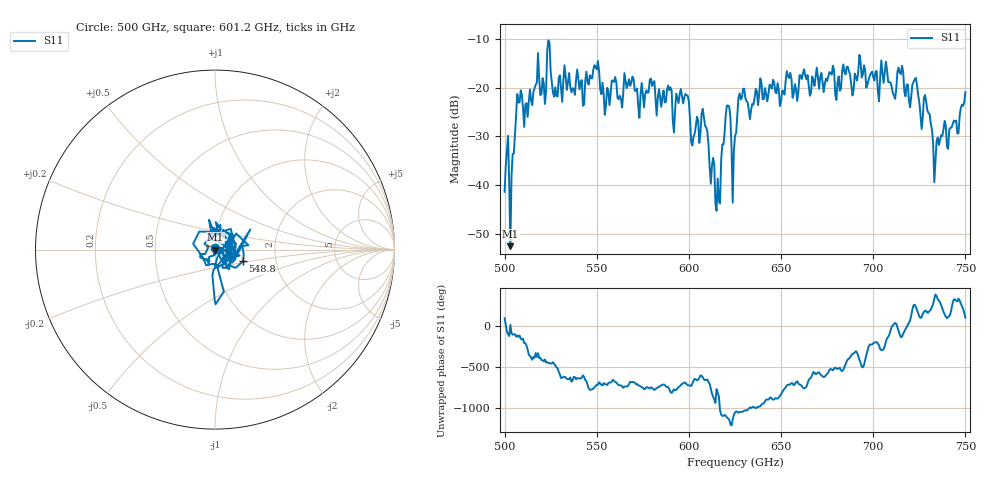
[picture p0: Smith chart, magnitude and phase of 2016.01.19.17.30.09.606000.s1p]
!Created with skrf (http://scikit-rf.org).
# GHz S RI R 50.0
!freq ReS11 ImS11
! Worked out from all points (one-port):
!   401 points, 500 GHz to 750 GHz, reference 50 ohm
!   lowest |S11| = -52.6 dB at 503.1 GHz (marker M1), VSWR 1.00, Z = 50.2 + j0.0522 ohm
!   |S11| at or under -10 dB: start of sweep to end of sweep
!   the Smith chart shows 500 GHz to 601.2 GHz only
!   S11 on the Smith chart (normalised r, x): 500 GHz: 1.00, +0.02; 548.8 GHz: 1.36, -0.18; 601.2 GHz: 1.06, -0.01
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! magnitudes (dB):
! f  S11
! 500 GHz  -41.4
! 503.1 GHz  -52.6
! 508.1 GHz  -23.1
! 521.2 GHz  -19.2
! 524.4 GHz  -10.9
! 527.5 GHz  -19.9
! 531.2 GHz  -23.0
! 541.9 GHz  -18.5
! 548.8 GHz  -15.4
! 562.5 GHz  -21.7
! 568.8 GHz  -19.0
! 593.8 GHz  -22.2
! 598.8 GHz  -21.6
! 601.2 GHz  -31.3
! 608.1 GHz  -26.2
! 615.6 GHz  -38.7
! 620.6 GHz  -23.7
! 625 GHz  -30.0
! 628.8 GHz  -22.1
! 656.2 GHz  -22.1
! 687.5 GHz  -17.5
! 705.6 GHz  -19.1
! 711.2 GHz  -21.7
! 715 GHz  -17.3
! 718.8 GHz  -19.3
! 728.8 GHz  -23.0
! 734.4 GHz  -31.0
! 750 GHz  -21.0
